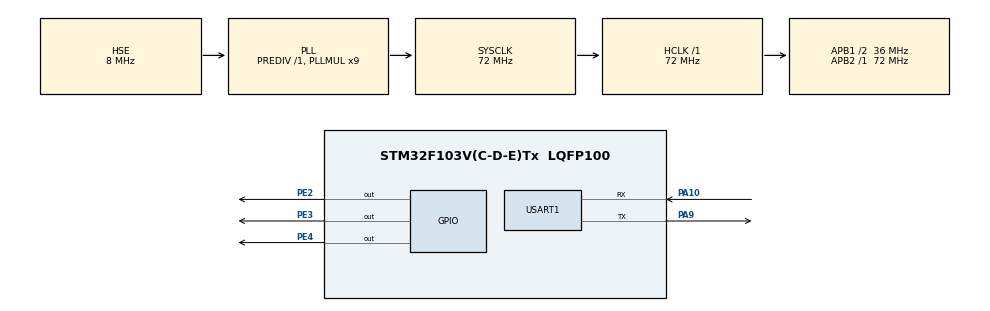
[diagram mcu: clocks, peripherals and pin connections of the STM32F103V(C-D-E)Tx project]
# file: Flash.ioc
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Mcu.Family=STM32F1
Mcu.Name=STM32F103V(C-D-E)Tx
Mcu.Package=LQFP100
NVIC.PriorityGroup=NVIC_PRIORITYGROUP_4
NVIC.TIM6_IRQn=true\:0\:0\:false\:false\:true\:true\:true
NVIC.USART1_IRQn=true\:0\:0\:false\:false\:true\:true\:true
OSC_IN.Mode=HSE-External-Oscillator
OSC_IN.Signal=RCC_OSC_IN
OSC_OUT.Mode=HSE-External-Oscillator
OSC_OUT.Signal=RCC_OSC_OUT
PA10.Mode=Asynchronous
PA10.Signal=USART1_RX
PA9.Mode=Asynchronous
PA9.Signal=USART1_TX
PE2.GPIO_PuPd=GPIO_PULLUP
PE2.Signal=GPIO_Output
PE3.GPIO_PuPd=GPIO_PULLUP
PE3.Signal=GPIO_Output
PE4.GPIO_PuPd=GPIO_PULLUP
PE4.Signal=GPIO_Output
ProjectManager.HeapSize=0x200
ProjectManager.StackSize=0x400
ProjectManager.TargetToolchain=STM32CubeIDE
RCC.AHBFreq_Value=72000000
RCC.APB1CLKDivider=RCC_HCLK_DIV2
RCC.APB1Freq_Value=36000000
RCC.APB1TimFreq_Value=72000000
RCC.APB2Freq_Value=72000000
RCC.APB2TimFreq_Value=72000000
RCC.HCLKFreq_Value=72000000
RCC.PLLMUL=RCC_PLL_MUL9
RCC.PLLSourceVirtual=RCC_PLLSOURCE_HSE
RCC.SYSCLKFreq_VALUE=72000000
RCC.SYSCLKSource=RCC_SYSCLKSOURCE_PLLCLK
RCC.USBFreq_Value=72000000
TIM6.AutoReloadPreload=TIM_AUTORELOAD_PRELOAD_ENABLE
TIM6.Period=999
TIM6.Prescaler=36000
USART1.VirtualMode=VM_ASYNC
VP_SYS_VS_ND.Mode=No_Debug
VP_TIM6_VS_ClockSourceINT.Mode=Enable_Timer
board=custom

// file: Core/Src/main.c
/* USER CODE BEGIN Header */
/**
  ******************************************************************************
  * @file           : main.c
  * @brief          : Main program body
  ******************************************************************************
  * @attention
  *
  * <h2><center>&copy; Copyright (c) 2021 STMicroelectronics.
  * All rights reserved.</center></h2>
  *
  * This software component is licensed by ST under BSD 3-Clause license,
  * the "License"; You may not use this file except in compliance with the
  * License. You may obtain a copy of the License at:
  *                        opensource.org/licenses/BSD-3-Clause
  *
  ******************************************************************************
  */
/* USER CODE END Header */
#include "main.h"
#include "tim.h"
#include "usart.h"
#include "gpio.h"
#include <stdio.h>
#include <string.h>
#include <stdint.h>

/* USER CODE BEGIN Includes */

extern TIM_HandleTypeDef htim6;
void SystemClock_Config(void);

int Timer_500m = 0;
int led_state = 0;

// 전역변수로 선언
uint8_t Rx_Data[2];
uint8_t Rx_Buffer[20];
uint8_t USART1_len=0;
uint8_t USART1_rx_end=0;

void HAL_UART_RxCpltCallback(UART_HandleTypeDef *huart)
{
  static uint8_t usart1_chk=0;
  if(huart -> Instance == USART1)
  {
      USART1_rx_end=0;
      switch(usart1_chk)
      {
          case 0:
            if(Rx_Data[0]==0x02)
            {
            	Rx_Buffer[USART1_len]=Rx_Data[0];
                USART1_len++;
                usart1_chk=1;
            }
            else usart1_chk=0;
            break;
          case 1:
            Rx_Buffer[USART1_len]=Rx_Data[0];
            USART1_len++;

            if(Rx_Data[0]==0x03)
            {
              USART1_rx_end=1;
              usart1_chk=0;
            }
            break;
          default:
            usart1_chk=0;
            break;
      }
      HAL_UART_Receive_IT(&huart1, Rx_Data, 1);
  }
}

// FLASH Memory 관련 변수들
void Flash_Data_Write(uint8_t *data);
void Flash_Data_Read(void);

#define StartAddr ((uint32_t)0x803F800) // 2KByte memory allocation
#define EndAddr   ((uint32_t)0x803FFFF)

uint16_t Flash_opt = 0;         // 해당 주소에 값이 입력되어 있는지 check하는 변수(flag)
uint8_t Flash_Buffer[100];

void Flash_Data_Write(uint8_t *data)
{
	uint8_t i;
  	uint16_t i16;
	HAL_FLASH_Unlock();
	for(i16 = 0; i16 < 255; i16 += 2){        // Flash 저장 데이터 모두 읽기
		Flash_Buffer[i16]= *(uint16_t *) (StartAddr + i16);
	}
	FLASH_ErasePage(StartAddr);

	for(i=0; i<50; i++){           //  data Modify
		Flash_Buffer[(i*2)]= *data++;
		if(!(*data)) break;
	}

	for(i16 = 0; i16 < 255; i16 += 2)  // Flash  데이터 모두 쓰기
	{
		FLASH_ProgramHalfWord(StartAddr+i16, Flash_Buffer[i16]);
	}
	HAL_FLASH_Lock();
}

void Flash_Data_Read(void)
{
	uint8_t i;
	uint16_t j=0;

	HAL_FLASH_Unlock();

	for(i=0; i<100; i+=2){
		Flash_Buffer[j]= *(uint16_t *)(StartAddr + i);
		j++;
	}
	HAL_FLASH_Lock();
}

/* USER CODE END Includes */

void SystemClock_Config(void);

/* USER CODE BEGIN 0 */
int write(int file, unsigned char* p, int len)
{
   HAL_UART_Transmit(&huart1, p, len, 10);
   return len;
}
#ifdef __GNUC__
#define PUTCHAR_PROTOTYPE int __io_putchar(int ch)
#else
#define PUTCHAR_PROTOTYPE int fputc(int ch, FILE *f)  //for printf
#endif
PUTCHAR_PROTOTYPE
{

  HAL_UART_Transmit(&huart1, (uint8_t *)&ch, 1, 0xFFFF);
  return ch;
}

/* USER CODE END 0 */

int main(void)
{

  /* MCU Configuration--------------------------------------------------------*/

  /* Reset of all peripherals, Initializes the Flash interface and the Systick. */
  HAL_Init();

  /* Configure the system clock */
  SystemClock_Config();

  /* Initialize all configured peripherals */
  MX_GPIO_Init();
  MX_TIM6_Init();
  MX_USART1_UART_Init();
  /* USER CODE BEGIN 2 */

  HAL_TIM_Base_Start_IT(&htim6);

  setvbuf(stdout, NULL, _IONBF, 0);

  //main 함수 while() 문 위에 수신 인터럽트 enable 설정
  HAL_UART_Receive_IT(&huart1, Rx_Data, 1); // 수신 interrupt Enable 설정

  Flash_Data_Read(); // 플래시 메모리 읽어오기
  printf("%s", Flash_Buffer);
  printf("Program start...  ");

  /* USER CODE END 2 */

  /* Infinite loop */
  while (1)
  {

    /* USER CODE BEGIN 3 */
	  if(Timer_500m >= 2)
	  {
		  HAL_GPIO_TogglePin(GPIOE, GPIO_PIN_2);
		  HAL_GPIO_TogglePin(GPIOE, GPIO_PIN_3);
		  HAL_GPIO_TogglePin(GPIOE, GPIO_PIN_4);
		  Timer_500m = 0;
	  }

	  // main함수 while문 내에서 주기적으로 USART1_rx_end flag 검사
	  if(USART1_rx_end)
	  {
		  // 입력 문자열 비교
		  if(!strcmp(Rx_Buffer, "\x02Write_FV_171001\x03"))
		  {
			  uint8_t data[10];
			  sprintf(data, "171001");
			  Flash_Data_Write(data);
		  }
		  else if(!strcmp(Rx_Buffer, "\x02Read FV\x03"))
	  	  {
	  		  Flash_Data_Read(); // 플래시 메모리 읽어오기
	  		  printf("%s", Flash_Buffer);
	  	  }

	  	  // 받은 데이터, 전송
	  	  HAL_UART_Transmit(&huart1, Rx_Buffer, USART1_len, 2);
	  	  USART1_len=0;
	  	  USART1_rx_end=0;

	  	  printf("%s", Rx_Buffer);

	  	  memset(Rx_Buffer, 0, 20); // 초기화
	  }
  }
  /* USER CODE END 3 */
}

void HAL_TIM_PeriodElapsedCallback(TIM_HandleTypeDef *htim)
{
    if(htim -> Instance == TIM6)
    {
        Timer_500m++;
    }
}

void SystemClock_Config(void)
{
  RCC_OscInitTypeDef RCC_OscInitStruct = {0};
  RCC_ClkInitTypeDef RCC_ClkInitStruct = {0};

  /** Initializes the RCC Oscillators according to the specified parameters
  * in the RCC_OscInitTypeDef structure.
  */
  RCC_OscInitStruct.OscillatorType = RCC_OSCILLATORTYPE_HSE;
  RCC_OscInitStruct.HSEState = RCC_HSE_ON;
  RCC_OscInitStruct.HSEPredivValue = RCC_HSE_PREDIV_DIV1;
  RCC_OscInitStruct.HSIState = RCC_HSI_ON;
  RCC_OscInitStruct.PLL.PLLState = RCC_PLL_ON;
  RCC_OscInitStruct.PLL.PLLSource = RCC_PLLSOURCE_HSE;
  RCC_OscInitStruct.PLL.PLLMUL = RCC_PLL_MUL9;
  if (HAL_RCC_OscConfig(&RCC_OscInitStruct) != HAL_OK)
  {
    Error_Handler();
  }
  /** Initializes the CPU, AHB and APB buses clocks
  */
  RCC_ClkInitStruct.ClockType = RCC_CLOCKTYPE_HCLK|RCC_CLOCKTYPE_SYSCLK
                              |RCC_CLOCKTYPE_PCLK1|RCC_CLOCKTYPE_PCLK2;
  RCC_ClkInitStruct.SYSCLKSource = RCC_SYSCLKSOURCE_PLLCLK;
  RCC_ClkInitStruct.AHBCLKDivider = RCC_SYSCLK_DIV1;
  RCC_ClkInitStruct.APB1CLKDivider = RCC_HCLK_DIV2;
  RCC_ClkInitStruct.APB2CLKDivider = RCC_HCLK_DIV1;

  if (HAL_RCC_ClockConfig(&RCC_ClkInitStruct, FLASH_LATENCY_2) != HAL_OK)
  {
    Error_Handler();
  }
}

void Error_Handler(void)
{
  __disable_irq();
  while (1)
  {
  }
}

/************************ (C) COPYRIGHT STMicroelectronics *****END OF FILE****/
